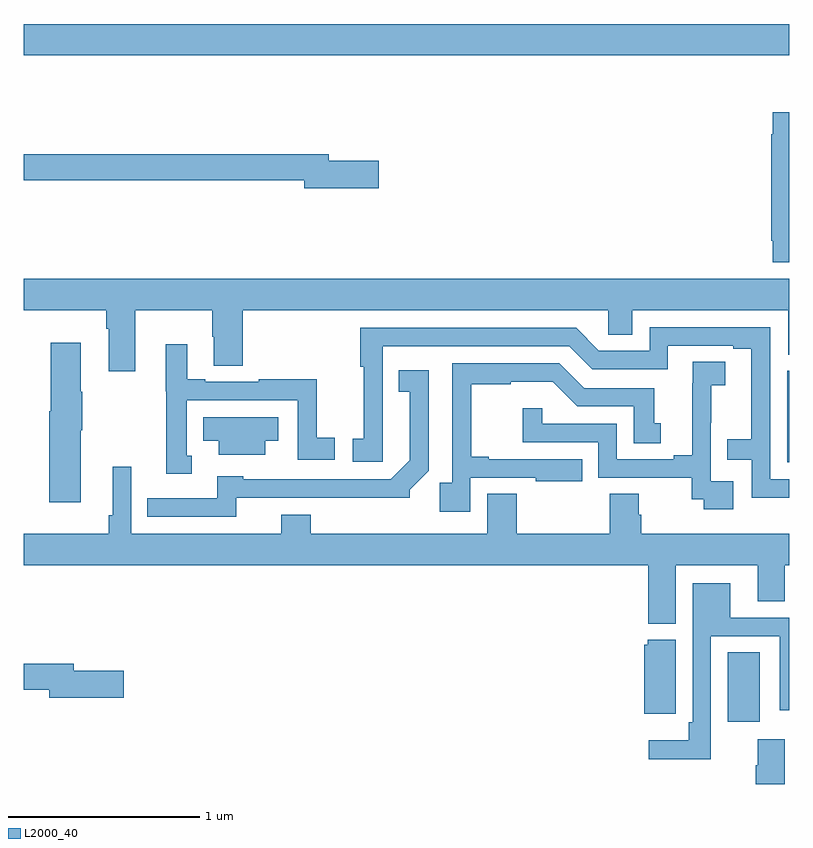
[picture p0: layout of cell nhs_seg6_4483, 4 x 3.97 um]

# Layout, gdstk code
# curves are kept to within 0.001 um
import gdstk
lib = gdstk.Library(unit=1e-6, precision=1e-09)
def R(c, l, rs):  # rectangles x0, y0, x1, y1
    for r in rs: c.add(gdstk.rectangle(r[:2], r[2:], *l))
def P(c, l, *ps):  # polygons
    for p in ps: c.add(gdstk.Polygon(p, *l))
L2000_40 = (2000, 40)

nhs_seg6_4483 = lib.new_cell('nhs_seg6_4483')
R(nhs_seg6_4483, L2000_40, [(378.68,971.826,378.847,972.188), (378.99,973.182,379,973.659), (375,975.308,379,975.472)])
P(nhs_seg6_4483, L2000_40, [(379,975.01),(378.915,975.01),(378.915,974.897),(378.907,974.897),(378.907,974.338),(378.914,974.338),(378.914,974.226),(379,974.226)],
  [(376.855,974.756),(376.594,974.756),(376.594,974.792),(375,974.792),(375,974.656),(376.466,974.656),(376.466,974.614),(376.855,974.614)],
  [(375.583,973.976),(375.985,973.976),(375.985,973.838),(375.992,973.838),(375.992,973.687),(376.145,973.687),(376.145,973.976),(378.054,973.976),(378.054,973.849),(378.181,973.849),(378.181,973.976),(378.995,973.976),(378.995,973.744),(379,973.744),(379,974.14),(375,974.14),(375,973.976),(375.431,973.976),(375.431,973.88),(375.443,973.88),(375.443,973.656),(375.583,973.656)],
  [(379,973.092),(378.9,973.092),(378.9,973.887),(378.27,973.887),(378.27,973.764),(378.006,973.764),(377.886,973.884),(376.759,973.884),(376.759,973.681),(376.777,973.681),(376.777,973.305),(376.719,973.305),(376.719,973.185),(376.876,973.185),(376.875,973.788),(377.85,973.788),(377.97,973.668),(378.366,973.668),(378.366,973.791),(378.707,973.791),(378.707,973.776),(378.803,973.776),(378.803,973.303),(378.676,973.303),(378.676,973.194),(378.804,973.194),(378.804,972.996),(379,972.996)],
  [(375.298,973.349),(375.306,973.349),(375.306,973.549),(375.298,973.549),(375.298,973.807),(375.14,973.807),(375.14,973.449),(375.134,973.449),(375.134,972.972),(375.298,972.972)],
  [(375.877,973.215),(375.852,973.215),(375.852,973.506),(376.431,973.506),(376.431,973.194),(376.624,973.194),(376.624,973.31),(376.53,973.31),(376.53,973.615),(376.228,973.615),(376.228,973.602),(375.949,973.602),(375.949,973.615),(375.853,973.615),(375.853,973.798),(375.743,973.798),(375.743,973.553),(375.744,973.553),(375.744,973.121),(375.877,973.121)],
  [(378.709,973.083),(378.591,973.083),(378.591,973.387),(378.593,973.387),(378.593,973.585),(378.667,973.585),(378.667,973.706),(378.496,973.706),(378.496,973.595),(378.494,973.595),(378.494,973.217),(378.398,973.217),(378.398,973.197),(378.099,973.197),(378.099,973.383),(377.709,973.383),(377.709,973.465),(377.608,973.465),(377.608,973.287),(378.003,973.287),(378.003,973.101),(378.49,973.101),(378.49,972.987),(378.553,972.987),(378.553,972.936),(378.709,972.936)],
  [(377.334,973.101),(377.675,973.101),(377.675,973.082),(377.918,973.082),(377.918,973.197),(377.431,973.197),(377.431,973.21),(377.339,973.21),(377.339,973.59),(377.546,973.59),(377.546,973.601),(377.764,973.601),(377.892,973.473),(378.188,973.473),(378.188,973.282),(378.328,973.282),(378.328,973.386),(378.295,973.386),(378.295,973.569),(377.928,973.569),(377.799,973.698),(377.238,973.698),(377.238,973.075),(377.173,973.075),(377.173,972.924),(377.334,972.924)],
  [(376.11,972.996),(377.016,972.995),(377.016,973.039),(377.115,973.138),(377.115,973.663),(376.96,973.663),(376.96,973.55),(377.018,973.55),(377.018,973.193),(376.917,973.092),(376.146,973.092),(376.146,973.108),(376.01,973.108),(376.01,972.993),(375.646,972.993),(375.646,972.897),(376.11,972.897)],
  [(376.261,973.295),(376.33,973.295),(376.33,973.417),(375.937,973.417),(375.937,973.295),(376.019,973.295),(376.019,973.22),(376.261,973.22)],
  [(378.406,972.644),(378.836,972.644),(378.836,972.454),(378.976,972.454),(378.976,972.644),(379,972.644),(379,972.808),(378.227,972.808),(378.227,972.906),(378.214,972.906),(378.214,973.016),(378.062,973.016),(378.062,972.808),(377.576,972.808),(377.576,973.016),(377.423,973.016),(377.423,972.808),(376.499,972.808),(376.499,972.907),(376.346,972.907),(376.346,972.808),(375.561,972.808),(375.561,973.159),(375.464,973.159),(375.464,972.904),(375.445,972.904),(375.445,972.808),(375,972.808),(375,972.644),(378.263,972.644),(378.263,972.338),(378.406,972.338)],
  [(378.591,972.273),(378.951,972.273),(378.951,971.886),(379,971.886),(379,972.369),(378.691,972.369),(378.691,972.55),(378.495,972.55),(378.495,971.824),(378.475,971.824),(378.475,971.728),(378.267,971.728),(378.267,971.63),(378.591,971.63)],
  [(378.406,972.253),(378.261,972.253),(378.261,972.228),(378.242,972.228),(378.242,971.867),(378.406,971.867)],
  [(375.523,972.092),(375.262,972.092),(375.262,972.128),(375,972.128),(375,971.992),(375.134,971.992),(375.134,971.95),(375.523,971.95)],
  [(378.836,971.597),(378.824,971.597),(378.824,971.5),(378.976,971.5),(378.976,971.734),(378.836,971.734)])

lib.write_gds('nhs_seg6_4483.gds')
